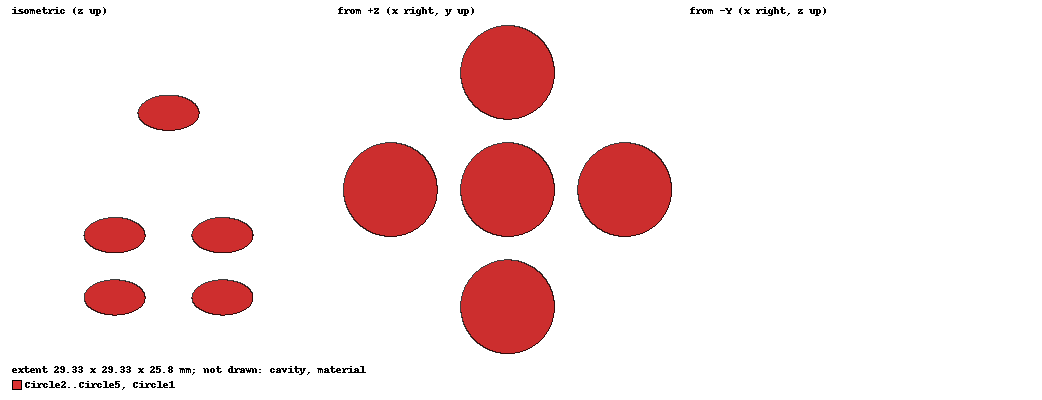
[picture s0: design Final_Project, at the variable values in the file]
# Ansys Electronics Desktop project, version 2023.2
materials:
  vacuum: permittivity=1

design Final_Project (HFSS, HFSS Terminal Network, model units mm)
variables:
  a = 0.84mm  # sensitivity 0.80639mm..0.87361mm
  b = 4.19mm  # sensitivity 4.02239mm..4.35761mm
  C = 20.112mm  # sensitivity 19.30751mm..20.91649mm
  L = 5mm  # sensitivity 4.79mm..5.21mm
  d = 10.475mm  # sensitivity 10.0559mm..10.8941mm
  k = 10mm  # sensitivity 9.59mm..10.41mm
  v = 17.598mm  # sensitivity 16.894079mm..18.30193mm
  t = 0.4mm  # sensitivity 0.383mm..0.417mm
  s = 0.5mm  # sensitivity 0.479mm..0.521mm
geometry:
  Circle1 = circle(normal=Z, centre=(0, 0, L/2 + k + t), radius=b)
  Circle2 = circle(normal=Z, centre=(d, 0, -L/2 - k - t), radius=b)
  Circle3 = circle(normal=Z, centre=(0, d, -L/2 - k - t), radius=b)
  Circle4 = circle(normal=Z, centre=(-d, 0, -L/2 - k - t), radius=b)
  Circle5 = circle(normal=Z, centre=(0, -d, -L/2 - k - t), radius=b)
  Cylinder1 = cylinder(axis=Z, base_centre=(0, 0, -L/2), radius=C, height=L)
  cavity [vacuum] = cylinder(axis=Z, base_centre=(0, 0, -L/2 - t), radius=C + t, height=L + 2*t)
  cavity.subtract(Cylinder1)
  material [vacuum] = cylinder(axis=Z, base_centre=(0, 0, -L/2), radius=C, height=L)
  Cylinder2 = cylinder(axis=Z, base_centre=(0, 0, L/2), radius=b + t, height=t)
  cavity.subtract(Cylinder2)
  Cylinder3 = cylinder(axis=Z, base_centre=(d, 0, -L/2 - t), radius=b + t, height=t)
  cavity.subtract(Cylinder3)
  Cylinder4 = cylinder(axis=Z, base_centre=(0, d, -L/2 - t), radius=b + t, height=t)
  cavity.subtract(Cylinder4)
  Cylinder5 = cylinder(axis=Z, base_centre=(-d, 0, -L/2 - t), radius=b + t, height=t)
  cavity.subtract(Cylinder5)
  Cylinder6 = cylinder(axis=Z, base_centre=(0, -d, -L/2 - t), radius=b + t, height=t)
  cavity.subtract(Cylinder6)
  Cylinder7 = cylinder(axis=Z, base_centre=(0, 0, -L/2), radius=a, height=L + k + t)
  cavity.unite(Cylinder7)
  Cylinder8 = cylinder(axis=Z, base_centre=(0, 0, -L/2), radius=a, height=L + k + t)
  material.subtract(Cylinder8)
  Cylinder9 = cylinder(axis=Z, base_centre=(d, 0, -L/2 - k - t), radius=a, height=L + k + t)
  cavity.unite(Cylinder9)
  Cylinder10 = cylinder(axis=Z, base_centre=(d, 0, -L/2 - k - t), radius=a, height=L + k + t)
  material.subtract(Cylinder10)
  Cylinder11 = cylinder(axis=Z, base_centre=(0, d, -L/2 - k - t), radius=a, height=L + k + t)
  cavity.unite(Cylinder11)
  Cylinder12 = cylinder(axis=Z, base_centre=(0, d, -L/2 - k - t), radius=a, height=L + k + t)
  material.subtract(Cylinder12)
  Cylinder13 = cylinder(axis=Z, base_centre=(-d, 0, -L/2 - k - t), radius=a, height=L + k + t)
  cavity.unite(Cylinder13)
  Cylinder14 = cylinder(axis=Z, base_centre=(-d, 0, -L/2 - k - t), radius=a, height=L + k + t)
  material.subtract(Cylinder14)
  Cylinder15 = cylinder(axis=Z, base_centre=(0, -d, -L/2 - k - t), radius=a, height=L + k + t)
  cavity.unite(Cylinder15)
  Cylinder16 = cylinder(axis=Z, base_centre=(0, -d, -L/2 - k - t), radius=a, height=L + k + t)
  material.subtract(Cylinder16)
  Cylinder17 = cylinder(axis=Z, base_centre=(0, 0, L/2), radius=b, height=k + t)
  Cylinder18 = cylinder(axis=Z, base_centre=(0, 0, L/2), radius=b + t, height=k + t)
  Cylinder18.subtract(Cylinder17)
  cavity.unite(Cylinder18)
  Cylinder19 = cylinder(axis=Z, base_centre=(0, 0, L/2), radius=a, height=k + t)
  Cylinder20 = cylinder(axis=Z, base_centre=(0, 0, L/2), radius=b, height=k + t)
  Cylinder20.subtract(Cylinder19)
  material.unite(Cylinder20)
  Cylinder21 = cylinder(axis=Z, base_centre=(d, 0, -L/2 - k - t), radius=b, height=k + t)
  Cylinder22 = cylinder(axis=Z, base_centre=(d, 0, -L/2 - k - t), radius=b + t, height=k + t)
  Cylinder22.subtract(Cylinder21)
  cavity.unite(Cylinder22)
  Cylinder23 = cylinder(axis=Z, base_centre=(d, 0, -L/2 - k - t), radius=a, height=k + t)
  Cylinder24 = cylinder(axis=Z, base_centre=(d, 0, -L/2 - k - t), radius=b, height=k + t)
  Cylinder24.subtract(Cylinder23)
  material.unite(Cylinder24)
  Cylinder25 = cylinder(axis=Z, base_centre=(0, d, -L/2 - k - t), radius=b, height=k + t)
  Cylinder26 = cylinder(axis=Z, base_centre=(0, d, -L/2 - k - t), radius=b + t, height=k + t)
  Cylinder26.subtract(Cylinder25)
  cavity.unite(Cylinder26)
  Cylinder27 = cylinder(axis=Z, base_centre=(0, d, -L/2 - k - t), radius=a, height=k + t)
  Cylinder28 = cylinder(axis=Z, base_centre=(0, d, -L/2 - k - t), radius=b, height=k + t)
  Cylinder28.subtract(Cylinder27)
  material.unite(Cylinder28)
  Cylinder29 = cylinder(axis=Z, base_centre=(-d, 0, -L/2 - k - t), radius=b, height=k + t)
  Cylinder30 = cylinder(axis=Z, base_centre=(-d, 0, -L/2 - k - t), radius=b + t, height=k + t)
  Cylinder30.subtract(Cylinder29)
  cavity.unite(Cylinder30)
  Cylinder31 = cylinder(axis=Z, base_centre=(-d, 0, -L/2 - k - t), radius=a, height=k + t)
  Cylinder32 = cylinder(axis=Z, base_centre=(-d, 0, -L/2 - k - t), radius=b, height=k + t)
  Cylinder32.subtract(Cylinder31)
  material.unite(Cylinder32)
  Cylinder33 = cylinder(axis=Z, base_centre=(0, -d, -L/2 - k - t), radius=b, height=k + t)
  Cylinder34 = cylinder(axis=Z, base_centre=(0, -d, -L/2 - k - t), radius=b + t, height=k + t)
  Cylinder34.subtract(Cylinder33)
  cavity.unite(Cylinder34)
  Cylinder35 = cylinder(axis=Z, base_centre=(0, -d, -L/2 - k - t), radius=a, height=k + t)
  Cylinder36 = cylinder(axis=Z, base_centre=(0, -d, -L/2 - k - t), radius=b, height=k + t)
  Cylinder36.subtract(Cylinder35)
  material.unite(Cylinder36)
  Cylinder37 = cylinder(axis=Z, base_centre=(1.0*v, 0, -L/2), radius=s, height=L)
  material.subtract(Cylinder37)
  Cylinder38 = cylinder(axis=Z, base_centre=(1.0*v, 0, -L/2), radius=s, height=L)
  cavity.unite(Cylinder38)
  Cylinder39 = cylinder(axis=Z, base_centre=(0.9945218953682733*v, 0.10452846326765346*v, -L/2), radius=s, height=L)
  material.subtract(Cylinder39)
  Cylinder40 = cylinder(axis=Z, base_centre=(0.9945218953682733*v, 0.10452846326765346*v, -L/2), radius=s, height=L)
  cavity.unite(Cylinder40)
  Cylinder41 = cylinder(axis=Z, base_centre=(0.9781476007338057*v, 0.20791169081775931*v, -L/2), radius=s, height=L)
  material.subtract(Cylinder41)
  Cylinder42 = cylinder(axis=Z, base_centre=(0.9781476007338057*v, 0.20791169081775931*v, -L/2), radius=s, height=L)
  cavity.unite(Cylinder42)
  Cylinder43 = cylinder(axis=Z, base_centre=(0.9510565162951535*v, 0.3090169943749474*v, -L/2), radius=s, height=L)
  material.subtract(Cylinder43)
  Cylinder44 = cylinder(axis=Z, base_centre=(0.9510565162951535*v, 0.3090169943749474*v, -L/2), radius=s, height=L)
  cavity.unite(Cylinder44)
  Cylinder45 = cylinder(axis=Z, base_centre=(0.9135454576426009*v, 0.40673664307580015*v, -L/2), radius=s, height=L)
  material.subtract(Cylinder45)
  Cylinder46 = cylinder(axis=Z, base_centre=(0.9135454576426009*v, 0.40673664307580015*v, -L/2), radius=s, height=L)
  cavity.unite(Cylinder46)
  Cylinder47 = cylinder(axis=Z, base_centre=(0.8660254037844387*v, 0.49999999999999994*v, -L/2), radius=s, height=L)
  material.subtract(Cylinder47)
  Cylinder48 = cylinder(axis=Z, base_centre=(0.8660254037844387*v, 0.49999999999999994*v, -L/2), radius=s, height=L)
  cavity.unite(Cylinder48)
  Cylinder49 = cylinder(axis=Z, base_centre=(0.8090169943749475*v, 0.5877852522924731*v, -L/2), radius=s, height=L)
  material.subtract(Cylinder49)
  Cylinder50 = cylinder(axis=Z, base_centre=(0.8090169943749475*v, 0.5877852522924731*v, -L/2), radius=s, height=L)
  cavity.unite(Cylinder50)
  Cylinder51 = cylinder(axis=Z, base_centre=(0.7431448254773942*v, 0.6691306063588582*v, -L/2), radius=s, height=L)
  material.subtract(Cylinder51)
  Cylinder52 = cylinder(axis=Z, base_centre=(0.7431448254773942*v, 0.6691306063588582*v, -L/2), radius=s, height=L)
  cavity.unite(Cylinder52)
  Cylinder53 = cylinder(axis=Z, base_centre=(0.6691306063588582*v, 0.7431448254773941*v, -L/2), radius=s, height=L)
  material.subtract(Cylinder53)
  Cylinder54 = cylinder(axis=Z, base_centre=(0.6691306063588582*v, 0.7431448254773941*v, -L/2), radius=s, height=L)
  cavity.unite(Cylinder54)
  Cylinder55 = cylinder(axis=Z, base_centre=(0.5877852522924731*v, 0.8090169943749475*v, -L/2), radius=s, height=L)
  material.subtract(Cylinder55)
  Cylinder56 = cylinder(axis=Z, base_centre=(0.5877852522924731*v, 0.8090169943749475*v, -L/2), radius=s, height=L)
  cavity.unite(Cylinder56)
  Cylinder57 = cylinder(axis=Z, base_centre=(0.5000000000000001*v, 0.8660254037844386*v, -L/2), radius=s, height=L)
  material.subtract(Cylinder57)
  Cylinder58 = cylinder(axis=Z, base_centre=(0.5000000000000001*v, 0.8660254037844386*v, -L/2), radius=s, height=L)
  cavity.unite(Cylinder58)
  Cylinder59 = cylinder(axis=Z, base_centre=(0.4067366430758004*v, 0.9135454576426009*v, -L/2), radius=s, height=L)
  material.subtract(Cylinder59)
  Cylinder60 = cylinder(axis=Z, base_centre=(0.4067366430758004*v, 0.9135454576426009*v, -L/2), radius=s, height=L)
  cavity.unite(Cylinder60)
  Cylinder61 = cylinder(axis=Z, base_centre=(0.30901699437494745*v, 0.9510565162951535*v, -L/2), radius=s, height=L)
  material.subtract(Cylinder61)
  Cylinder62 = cylinder(axis=Z, base_centre=(0.30901699437494745*v, 0.9510565162951535*v, -L/2), radius=s, height=L)
  cavity.unite(Cylinder62)
  Cylinder63 = cylinder(axis=Z, base_centre=(0.20791169081775923*v, 0.9781476007338057*v, -L/2), radius=s, height=L)
  material.subtract(Cylinder63)
  Cylinder64 = cylinder(axis=Z, base_centre=(0.20791169081775923*v, 0.9781476007338057*v, -L/2), radius=s, height=L)
  cavity.unite(Cylinder64)
  Cylinder65 = cylinder(axis=Z, base_centre=(0.10452846326765346*v, 0.9945218953682733*v, -L/2), radius=s, height=L)
  material.subtract(Cylinder65)
  Cylinder66 = cylinder(axis=Z, base_centre=(0.10452846326765346*v, 0.9945218953682733*v, -L/2), radius=s, height=L)
  cavity.unite(Cylinder66)
  Cylinder67 = cylinder(axis=Z, base_centre=(2.83276944882399e-16*v, 1.0*v, -L/2), radius=s, height=L)
  material.subtract(Cylinder67)
  Cylinder68 = cylinder(axis=Z, base_centre=(2.83276944882399e-16*v, 1.0*v, -L/2), radius=s, height=L)
  cavity.unite(Cylinder68)
  Cylinder69 = cylinder(axis=Z, base_centre=(-0.10452846326765333*v, 0.9945218953682734*v, -L/2), radius=s, height=L)
  material.subtract(Cylinder69)
  Cylinder70 = cylinder(axis=Z, base_centre=(-0.10452846326765333*v, 0.9945218953682734*v, -L/2), radius=s, height=L)
  cavity.unite(Cylinder70)
  Cylinder71 = cylinder(axis=Z, base_centre=(-0.20791169081775934*v, 0.9781476007338057*v, -L/2), radius=s, height=L)
  material.subtract(Cylinder71)
  Cylinder72 = cylinder(axis=Z, base_centre=(-0.20791169081775934*v, 0.9781476007338057*v, -L/2), radius=s, height=L)
  cavity.unite(Cylinder72)
  Cylinder73 = cylinder(axis=Z, base_centre=(-0.30901699437494734*v, 0.9510565162951536*v, -L/2), radius=s, height=L)
  material.subtract(Cylinder73)
  Cylinder74 = cylinder(axis=Z, base_centre=(-0.30901699437494734*v, 0.9510565162951536*v, -L/2), radius=s, height=L)
  cavity.unite(Cylinder74)
  Cylinder75 = cylinder(axis=Z, base_centre=(-0.4067366430758001*v, 0.913545457642601*v, -L/2), radius=s, height=L)
  material.subtract(Cylinder75)
  Cylinder76 = cylinder(axis=Z, base_centre=(-0.4067366430758001*v, 0.913545457642601*v, -L/2), radius=s, height=L)
  cavity.unite(Cylinder76)
  Cylinder77 = cylinder(axis=Z, base_centre=(-0.4999999999999998*v, 0.8660254037844387*v, -L/2), radius=s, height=L)
  material.subtract(Cylinder77)
  Cylinder78 = cylinder(axis=Z, base_centre=(-0.4999999999999998*v, 0.8660254037844387*v, -L/2), radius=s, height=L)
  cavity.unite(Cylinder78)
  Cylinder79 = cylinder(axis=Z, base_centre=(-0.587785252292473*v, 0.8090169943749475*v, -L/2), radius=s, height=L)
  material.subtract(Cylinder79)
  Cylinder80 = cylinder(axis=Z, base_centre=(-0.587785252292473*v, 0.8090169943749475*v, -L/2), radius=s, height=L)
  cavity.unite(Cylinder80)
  Cylinder81 = cylinder(axis=Z, base_centre=(-0.6691306063588579*v, 0.7431448254773945*v, -L/2), radius=s, height=L)
  material.subtract(Cylinder81)
  Cylinder82 = cylinder(axis=Z, base_centre=(-0.6691306063588579*v, 0.7431448254773945*v, -L/2), radius=s, height=L)
  cavity.unite(Cylinder82)
  Cylinder83 = cylinder(axis=Z, base_centre=(-0.7431448254773941*v, 0.6691306063588583*v, -L/2), radius=s, height=L)
  material.subtract(Cylinder83)
  Cylinder84 = cylinder(axis=Z, base_centre=(-0.7431448254773941*v, 0.6691306063588583*v, -L/2), radius=s, height=L)
  cavity.unite(Cylinder84)
  Cylinder85 = cylinder(axis=Z, base_centre=(-0.8090169943749473*v, 0.5877852522924732*v, -L/2), radius=s, height=L)
  material.subtract(Cylinder85)
  Cylinder86 = cylinder(axis=Z, base_centre=(-0.8090169943749473*v, 0.5877852522924732*v, -L/2), radius=s, height=L)
  cavity.unite(Cylinder86)
  Cylinder87 = cylinder(axis=Z, base_centre=(-0.8660254037844387*v, 0.49999999999999994*v, -L/2), radius=s, height=L)
  material.subtract(Cylinder87)
  Cylinder88 = cylinder(axis=Z, base_centre=(-0.8660254037844387*v, 0.49999999999999994*v, -L/2), radius=s, height=L)
  cavity.unite(Cylinder88)
  Cylinder89 = cylinder(axis=Z, base_centre=(-0.913545457642601*v, 0.40673664307580004*v, -L/2), radius=s, height=L)
  material.subtract(Cylinder89)
  Cylinder90 = cylinder(axis=Z, base_centre=(-0.913545457642601*v, 0.40673664307580004*v, -L/2), radius=s, height=L)
  cavity.unite(Cylinder90)
  Cylinder91 = cylinder(axis=Z, base_centre=(-0.9510565162951535*v, 0.3090169943749475*v, -L/2), radius=s, height=L)
  material.subtract(Cylinder91)
  Cylinder92 = cylinder(axis=Z, base_centre=(-0.9510565162951535*v, 0.3090169943749475*v, -L/2), radius=s, height=L)
  cavity.unite(Cylinder92)
  Cylinder93 = cylinder(axis=Z, base_centre=(-0.9781476007338057*v, 0.20791169081775931*v, -L/2), radius=s, height=L)
  material.subtract(Cylinder93)
  Cylinder94 = cylinder(axis=Z, base_centre=(-0.9781476007338057*v, 0.20791169081775931*v, -L/2), radius=s, height=L)
  cavity.unite(Cylinder94)
  Cylinder95 = cylinder(axis=Z, base_centre=(-0.9945218953682734*v, 0.10452846326765329*v, -L/2), radius=s, height=L)
  material.subtract(Cylinder95)
  Cylinder96 = cylinder(axis=Z, base_centre=(-0.9945218953682734*v, 0.10452846326765329*v, -L/2), radius=s, height=L)
  cavity.unite(Cylinder96)
  Cylinder97 = cylinder(axis=Z, base_centre=(-1.0*v, 5.66553889764798e-16*v, -L/2), radius=s, height=L)
  material.subtract(Cylinder97)
  Cylinder98 = cylinder(axis=Z, base_centre=(-1.0*v, 5.66553889764798e-16*v, -L/2), radius=s, height=L)
  cavity.unite(Cylinder98)
  Cylinder99 = cylinder(axis=Z, base_centre=(-0.9945218953682734*v, -0.10452846326765305*v, -L/2), radius=s, height=L)
  material.subtract(Cylinder99)
  Cylinder100 = cylinder(axis=Z, base_centre=(-0.9945218953682734*v, -0.10452846326765305*v, -L/2), radius=s, height=L)
  cavity.unite(Cylinder100)
  Cylinder101 = cylinder(axis=Z, base_centre=(-0.9781476007338057*v, -0.20791169081775907*v, -L/2), radius=s, height=L)
  material.subtract(Cylinder101)
  Cylinder102 = cylinder(axis=Z, base_centre=(-0.9781476007338057*v, -0.20791169081775907*v, -L/2), radius=s, height=L)
  cavity.unite(Cylinder102)
  Cylinder103 = cylinder(axis=Z, base_centre=(-0.9510565162951536*v, -0.3090169943749473*v, -L/2), radius=s, height=L)
  material.subtract(Cylinder103)
  Cylinder104 = cylinder(axis=Z, base_centre=(-0.9510565162951536*v, -0.3090169943749473*v, -L/2), radius=s, height=L)
  cavity.unite(Cylinder104)
  Cylinder105 = cylinder(axis=Z, base_centre=(-0.9135454576426009*v, -0.4067366430758002*v, -L/2), radius=s, height=L)
  material.subtract(Cylinder105)
  Cylinder106 = cylinder(axis=Z, base_centre=(-0.9135454576426009*v, -0.4067366430758002*v, -L/2), radius=s, height=L)
  cavity.unite(Cylinder106)
  Cylinder107 = cylinder(axis=Z, base_centre=(-0.8660254037844388*v, -0.4999999999999997*v, -L/2), radius=s, height=L)
  material.subtract(Cylinder107)
  Cylinder108 = cylinder(axis=Z, base_centre=(-0.8660254037844388*v, -0.4999999999999997*v, -L/2), radius=s, height=L)
  cavity.unite(Cylinder108)
  Cylinder109 = cylinder(axis=Z, base_centre=(-0.8090169943749475*v, -0.587785252292473*v, -L/2), radius=s, height=L)
  material.subtract(Cylinder109)
  Cylinder110 = cylinder(axis=Z, base_centre=(-0.8090169943749475*v, -0.587785252292473*v, -L/2), radius=s, height=L)
  cavity.unite(Cylinder110)
  Cylinder111 = cylinder(axis=Z, base_centre=(-0.7431448254773942*v, -0.6691306063588582*v, -L/2), radius=s, height=L)
  material.subtract(Cylinder111)
  Cylinder112 = cylinder(axis=Z, base_centre=(-0.7431448254773942*v, -0.6691306063588582*v, -L/2), radius=s, height=L)
  cavity.unite(Cylinder112)
  Cylinder113 = cylinder(axis=Z, base_centre=(-0.6691306063588585*v, -0.743144825477394*v, -L/2), radius=s, height=L)
  material.subtract(Cylinder113)
  Cylinder114 = cylinder(axis=Z, base_centre=(-0.6691306063588585*v, -0.743144825477394*v, -L/2), radius=s, height=L)
  cavity.unite(Cylinder114)
  Cylinder115 = cylinder(axis=Z, base_centre=(-0.5877852522924732*v, -0.8090169943749473*v, -L/2), radius=s, height=L)
  material.subtract(Cylinder115)
  Cylinder116 = cylinder(axis=Z, base_centre=(-0.5877852522924732*v, -0.8090169943749473*v, -L/2), radius=s, height=L)
  cavity.unite(Cylinder116)
  Cylinder117 = cylinder(axis=Z, base_centre=(-0.5000000000000004*v, -0.8660254037844385*v, -L/2), radius=s, height=L)
  material.subtract(Cylinder117)
  Cylinder118 = cylinder(axis=Z, base_centre=(-0.5000000000000004*v, -0.8660254037844385*v, -L/2), radius=s, height=L)
  cavity.unite(Cylinder118)
  Cylinder119 = cylinder(axis=Z, base_centre=(-0.40673664307580093*v, -0.9135454576426005*v, -L/2), radius=s, height=L)
  material.subtract(Cylinder119)
  Cylinder120 = cylinder(axis=Z, base_centre=(-0.40673664307580093*v, -0.9135454576426005*v, -L/2), radius=s, height=L)
  cavity.unite(Cylinder120)
  Cylinder121 = cylinder(axis=Z, base_centre=(-0.30901699437494756*v, -0.9510565162951535*v, -L/2), radius=s, height=L)
  material.subtract(Cylinder121)
  Cylinder122 = cylinder(axis=Z, base_centre=(-0.30901699437494756*v, -0.9510565162951535*v, -L/2), radius=s, height=L)
  cavity.unite(Cylinder122)
  Cylinder123 = cylinder(axis=Z, base_centre=(-0.2079116908177598*v, -0.9781476007338056*v, -L/2), radius=s, height=L)
  material.subtract(Cylinder123)
  Cylinder124 = cylinder(axis=Z, base_centre=(-0.2079116908177598*v, -0.9781476007338056*v, -L/2), radius=s, height=L)
  cavity.unite(Cylinder124)
  Cylinder125 = cylinder(axis=Z, base_centre=(-0.10452846326765423*v, -0.9945218953682733*v, -L/2), radius=s, height=L)
  material.subtract(Cylinder125)
  Cylinder126 = cylinder(axis=Z, base_centre=(-0.10452846326765423*v, -0.9945218953682733*v, -L/2), radius=s, height=L)
  cavity.unite(Cylinder126)
  Cylinder127 = cylinder(axis=Z, base_centre=(-1.8369701987210297e-16*v, -1.0*v, -L/2), radius=s, height=L)
  material.subtract(Cylinder127)
  Cylinder128 = cylinder(axis=Z, base_centre=(-1.8369701987210297e-16*v, -1.0*v, -L/2), radius=s, height=L)
  cavity.unite(Cylinder128)
  Cylinder129 = cylinder(axis=Z, base_centre=(0.10452846326765299*v, -0.9945218953682734*v, -L/2), radius=s, height=L)
  material.subtract(Cylinder129)
  Cylinder130 = cylinder(axis=Z, base_centre=(0.10452846326765299*v, -0.9945218953682734*v, -L/2), radius=s, height=L)
  cavity.unite(Cylinder130)
  Cylinder131 = cylinder(axis=Z, base_centre=(0.20791169081775943*v, -0.9781476007338056*v, -L/2), radius=s, height=L)
  material.subtract(Cylinder131)
  Cylinder132 = cylinder(axis=Z, base_centre=(0.20791169081775943*v, -0.9781476007338056*v, -L/2), radius=s, height=L)
  cavity.unite(Cylinder132)
  Cylinder133 = cylinder(axis=Z, base_centre=(0.30901699437494723*v, -0.9510565162951536*v, -L/2), radius=s, height=L)
  material.subtract(Cylinder133)
  Cylinder134 = cylinder(axis=Z, base_centre=(0.30901699437494723*v, -0.9510565162951536*v, -L/2), radius=s, height=L)
  cavity.unite(Cylinder134)
  Cylinder135 = cylinder(axis=Z, base_centre=(0.40673664307579976*v, -0.9135454576426011*v, -L/2), radius=s, height=L)
  material.subtract(Cylinder135)
  Cylinder136 = cylinder(axis=Z, base_centre=(0.40673664307579976*v, -0.9135454576426011*v, -L/2), radius=s, height=L)
  cavity.unite(Cylinder136)
  Cylinder137 = cylinder(axis=Z, base_centre=(0.5000000000000001*v, -0.8660254037844386*v, -L/2), radius=s, height=L)
  material.subtract(Cylinder137)
  Cylinder138 = cylinder(axis=Z, base_centre=(0.5000000000000001*v, -0.8660254037844386*v, -L/2), radius=s, height=L)
  cavity.unite(Cylinder138)
  Cylinder139 = cylinder(axis=Z, base_centre=(0.5877852522924729*v, -0.8090169943749476*v, -L/2), radius=s, height=L)
  material.subtract(Cylinder139)
  Cylinder140 = cylinder(axis=Z, base_centre=(0.5877852522924729*v, -0.8090169943749476*v, -L/2), radius=s, height=L)
  cavity.unite(Cylinder140)
  Cylinder141 = cylinder(axis=Z, base_centre=(0.6691306063588585*v, -0.743144825477394*v, -L/2), radius=s, height=L)
  material.subtract(Cylinder141)
  Cylinder142 = cylinder(axis=Z, base_centre=(0.6691306063588585*v, -0.743144825477394*v, -L/2), radius=s, height=L)
  cavity.unite(Cylinder142)
  Cylinder143 = cylinder(axis=Z, base_centre=(0.7431448254773942*v, -0.6691306063588581*v, -L/2), radius=s, height=L)
  material.subtract(Cylinder143)
  Cylinder144 = cylinder(axis=Z, base_centre=(0.7431448254773942*v, -0.6691306063588581*v, -L/2), radius=s, height=L)
  cavity.unite(Cylinder144)
  Cylinder145 = cylinder(axis=Z, base_centre=(0.8090169943749473*v, -0.5877852522924734*v, -L/2), radius=s, height=L)
  material.subtract(Cylinder145)
  Cylinder146 = cylinder(axis=Z, base_centre=(0.8090169943749473*v, -0.5877852522924734*v, -L/2), radius=s, height=L)
  cavity.unite(Cylinder146)
  Cylinder147 = cylinder(axis=Z, base_centre=(0.8660254037844388*v, -0.49999999999999967*v, -L/2), radius=s, height=L)
  material.subtract(Cylinder147)
  Cylinder148 = cylinder(axis=Z, base_centre=(0.8660254037844388*v, -0.49999999999999967*v, -L/2), radius=s, height=L)
  cavity.unite(Cylinder148)
  Cylinder149 = cylinder(axis=Z, base_centre=(0.913545457642601*v, -0.40673664307580015*v, -L/2), radius=s, height=L)
  material.subtract(Cylinder149)
  Cylinder150 = cylinder(axis=Z, base_centre=(0.913545457642601*v, -0.40673664307580015*v, -L/2), radius=s, height=L)
  cavity.unite(Cylinder150)
  Cylinder151 = cylinder(axis=Z, base_centre=(0.9510565162951535*v, -0.3090169943749477*v, -L/2), radius=s, height=L)
  material.subtract(Cylinder151)
  Cylinder152 = cylinder(axis=Z, base_centre=(0.9510565162951535*v, -0.3090169943749477*v, -L/2), radius=s, height=L)
  cavity.unite(Cylinder152)
  Cylinder153 = cylinder(axis=Z, base_centre=(0.9781476007338057*v, -0.20791169081775898*v, -L/2), radius=s, height=L)
  material.subtract(Cylinder153)
  Cylinder154 = cylinder(axis=Z, base_centre=(0.9781476007338057*v, -0.20791169081775898*v, -L/2), radius=s, height=L)
  cavity.unite(Cylinder154)
  Cylinder155 = cylinder(axis=Z, base_centre=(0.9945218953682733*v, -0.10452846326765342*v, -L/2), radius=s, height=L)
  material.subtract(Cylinder155)
  Cylinder156 = cylinder(axis=Z, base_centre=(0.9945218953682733*v, -0.10452846326765342*v, -L/2), radius=s, height=L)
  cavity.unite(Cylinder156)
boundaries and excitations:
  PerfE: Perfect E Objects=cavity
  1: Wave Port Objects=Circle1 WavePortType=Modal NumModes=1 Modes{Mode1{IntLine{(0, 0, 12.9) -> (2000mm, 0mm, 12900mm)} CharImp=Zpi}}
  2: Wave Port Objects=Circle2 WavePortType=Modal NumModes=1 Modes{Mode1{IntLine{(10.475, 0, -12.9) -> (12000mm, 0mm, -12900mm)} CharImp=Zpi}}
  3: Wave Port Objects=Circle3 WavePortType=Modal NumModes=1 Modes{Mode1{IntLine{(0, 10.475, -12.9) -> (1500mm, 10500mm, -12900mm)} CharImp=Zpi}}
  4: Wave Port Objects=Circle4 WavePortType=Modal NumModes=1 Modes{Mode1{IntLine{(-10.475, 0, -12.9) -> (-9000mm, 0mm, -12900mm)} CharImp=Zpi}}
  5: Wave Port Objects=Circle5 WavePortType=Modal NumModes=1 Modes{Mode1{IntLine{(0, -10.475, -12.9) -> (1500mm, -10500mm, -12900mm)} CharImp=Zpi}}
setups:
  Setup1: HfssDriven Frequency=10.28GHz MaxDeltaS=0.02 MaximumPasses=6 MinimumPasses=1 MinimumConvergedPasses=1 PercentRefinement=30 BasisOrder=1 PortAccuracy=2 DrivenSolverType="Direct Solver"
    sweep Sweep: 6GHz to 14GHz, 401 points; disabled Type=Interpolating InterpTolerance=0.5 InterpMaxSolns=250 PassivityErrorTolerance=0.0001
    sweep Sweep1: 9.25GHz to 11.25GHz, 101 points; Type=Interpolating InterpTolerance=0.5 InterpMaxSolns=250 PassivityErrorTolerance=0.0001
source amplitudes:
  1:1: 1V 0deg
  2:1, 3:1, 4:1, 5:1: 0V 0deg
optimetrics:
  SensitivitySetup1: Sensitivity MaxIterations=8 Primary_Goal=-1 PrimaryError=1e-05
    calculate mean(dB(S(1,1))) on Setup1 : Sweep1 at Freq 9.25GHz to 11.25GHz
    calculate mean(dB(S(1,2))) on Setup1 : Sweep1 at Freq 9.25GHz to 11.25GHz
    calculate mean(dB(S(1,3))) on Setup1 : Sweep1 at Freq 9.25GHz to 11.25GHz
    calculate mean(dB(S(1,4))) on Setup1 : Sweep1 at Freq 9.25GHz to 11.25GHz
    calculate mean(dB(S(1,5))) on Setup1 : Sweep1 at Freq 9.25GHz to 11.25GHz
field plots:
  Mag_E1: E Field in material on Setup1 : LastAdaptive at Freq=10.28GHz Phase=0deg
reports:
  S Parameters Phase: ang_deg(S(1,1)), ang_deg(S(1,2)), ang_deg(S(1,3)), ang_deg(S(1,4)), ang_deg(S(1,5)) vs Freq on Setup1 : Sweep
  S Parameters Magnitude: dB(S(1,1)), dB(S(1,2)), dB(S(1,3)), dB(S(1,4)), dB(S(1,5)) vs Freq on Setup1 : Sweep
